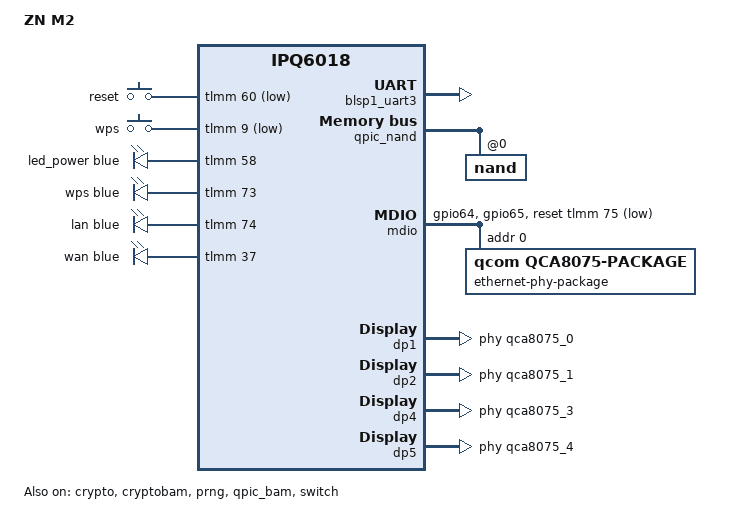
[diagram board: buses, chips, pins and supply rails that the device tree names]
// SPDX-License-Identifier: GPL-2.0-or-later OR MIT
//
// DTS for ZN-M2 (IPQ6000) - adapted for ImmortalWrt v25.12.1 (kernel 6.12)
// Based on: VIKINGYFY/immortalwrt ipq6000-m2.dts + ipq6000-cmiot.dtsi
// Adapted to use v25.12.1's include structure (no ipq6018-nss.dtsi / ipq6018-common.dtsi)
// WiFi node omitted (not needed)

/dts-v1/;

#include "ipq6018-512m.dtsi"
#include "ipq6018-ess.dtsi"
#include "ipq6018-cp-cpu.dtsi"

#include <dt-bindings/gpio/gpio.h>
#include <dt-bindings/input/input.h>
#include <dt-bindings/leds/common.h>

/ {
	model = "ZN M2";
	compatible = "zn,m2", "qcom,ipq6018";

	aliases {
		serial0 = &blsp1_uart3;
		ethernet0 = &dp1;
		ethernet1 = &dp2;
		ethernet3 = &dp4;
		ethernet4 = &dp5;

		led-boot = &led_power;
		led-failsafe = &led_power;
		led-running = &led_power;
		led-upgrade = &led_power;
	};

	chosen {
		stdout-path = "serial0:115200n8";
		bootargs-append = " root=/dev/ubiblock0_1";
	};

	keys {
		compatible = "gpio-keys";

		reset {
			label = "reset";
			gpios = <&tlmm 60 GPIO_ACTIVE_LOW>;
			linux,code = <KEY_RESTART>;
		};

		wps {
			label = "wps";
			gpios = <&tlmm 9 GPIO_ACTIVE_LOW>;
			linux,code = <KEY_WPS_BUTTON>;
		};
	};

	leds {
		compatible = "gpio-leds";

		led_power: power {
			color = <LED_COLOR_ID_BLUE>;
			function = LED_FUNCTION_POWER;
			gpios = <&tlmm 58 GPIO_ACTIVE_HIGH>;
		};

		wps {
			color = <LED_COLOR_ID_BLUE>;
			function = LED_FUNCTION_WPS;
			gpios = <&tlmm 73 GPIO_ACTIVE_HIGH>;
		};

		lan {
			color = <LED_COLOR_ID_BLUE>;
			function = LED_FUNCTION_LAN;
			gpios = <&tlmm 74 GPIO_ACTIVE_HIGH>;
		};

		wan {
			color = <LED_COLOR_ID_BLUE>;
			function = LED_FUNCTION_WAN;
			gpios = <&tlmm 37 GPIO_ACTIVE_HIGH>;
		};
	};
};

&tlmm {
	mdio_pins: mdio-pins {
		mdc {
			pins = "gpio64";
			function = "mdc";
			drive-strength = <8>;
			bias-pull-up;
		};

		mdio {
			pins = "gpio65";
			function = "mdio";
			drive-strength = <8>;
			bias-pull-up;
		};
	};
};

&blsp1_uart3 {
	pinctrl-0 = <&serial_3_pins>;
	pinctrl-names = "default";
	status = "okay";
};

&crypto {
	status = "okay";
};

&cryptobam {
	status = "okay";
};

&prng {
	status = "okay";
};

&qpic_bam {
	status = "okay";
};

&qpic_nand {
	status = "okay";

	nand@0 {
		reg = <0>;
		nand-ecc-strength = <4>;
		nand-ecc-step-size = <512>;
		nand-bus-width = <8>;

		partitions {
			compatible = "qcom,smem-part";
		};
	};
};

&mdio {
	status = "okay";

	pinctrl-0 = <&mdio_pins>;
	pinctrl-names = "default";
	reset-gpios = <&tlmm 75 GPIO_ACTIVE_LOW>;

	ethernet-phy-package@0 {
		compatible = "qcom,qca8075-package";
		#address-cells = <1>;
		#size-cells = <0>;
		reg = <0>;

		qca8075_0: ethernet-phy@0 {
			compatible = "ethernet-phy-ieee802.3-c22";
			reg = <0>;
		};

		qca8075_1: ethernet-phy@1 {
			compatible = "ethernet-phy-ieee802.3-c22";
			reg = <1>;
		};

		qca8075_3: ethernet-phy@3 {
			compatible = "ethernet-phy-ieee802.3-c22";
			reg = <3>;
		};

		qca8075_4: ethernet-phy@4 {
			compatible = "ethernet-phy-ieee802.3-c22";
			reg = <4>;
		};
	};
};

&switch {
	status = "okay";

	switch_lan_bmp = <(ESS_PORT1 | ESS_PORT2 | ESS_PORT4)>;
	switch_wan_bmp = <ESS_PORT5>;
	switch_mac_mode = <MAC_MODE_PSGMII>;

	qcom,port_phyinfo {
		port@1 {
			port_id = <1>;
			phy_address = <0>;
		};

		port@2 {
			port_id = <2>;
			phy_address = <1>;
		};

		port@4 {
			port_id = <4>;
			phy_address = <3>;
		};

		port@5 {
			port_id = <5>;
			phy_address = <4>;
		};
	};
};

&edma {
	status = "okay";
};

&dp1 {
	status = "okay";
	phy-handle = <&qca8075_0>;
	label = "lan3";
};

&dp2 {
	status = "okay";
	phy-handle = <&qca8075_1>;
	label = "lan2";
};

&dp4 {
	status = "okay";
	phy-handle = <&qca8075_3>;
	label = "lan1";
};

&dp5 {
	status = "okay";
	phy-handle = <&qca8075_4>;
	label = "wan";
};
